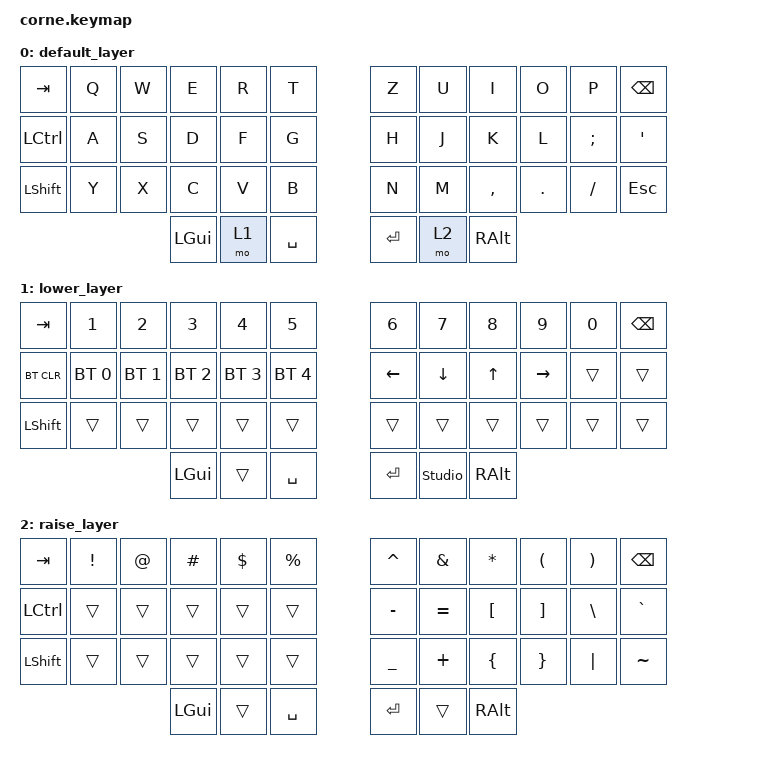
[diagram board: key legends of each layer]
/*
 * Copyright (c) 2020 The ZMK Contributors
 *
 * SPDX-License-Identifier: MIT
 */

#include <behaviors.dtsi>
#include <dt-bindings/zmk/keys.h>
#include <dt-bindings/zmk/bt.h>
#include <dt-bindings/zmk/rgb.h>
#include <dt-bindings/zmk/outputs.h>
#include <dt-bindings/led/led.h>

/{
    chosen {
        zmk,battery = &vbatt;
        zmk,underglow = &led_strip;
    };
  

    ext-power {
        compatible = "zmk,ext-power-generic";
        label = "EXT_POWER";
        control-gpios = <&gpio0 13 GPIO_ACTIVE_HIGH>;
         init-delay-ms = <50>;
    };

     vbatt: vbatt {
        compatible = "zmk,battery-nrf-vddh";
    };


};


&spi3 {
  compatible = "nordic,nrf-spim";
  status = "okay";

  pinctrl-0 = <&spi1_default>;
  pinctrl-1 = <&spi1_sleep>;
  pinctrl-names = "default", "sleep";

  led_strip: ws2812@0 {
    compatible = "worldsemi,ws2812-spi";

    /* SPI */
    reg = <0>; /* ignored, but necessary for SPI bindings */
    spi-max-frequency = <4000000>;

    /* WS2812 */
    chain-length = <27>; /* number of LEDs */
    spi-one-frame = <0x70>;
    spi-zero-frame = <0x40>;
    color-mapping = <LED_COLOR_ID_GREEN
                          LED_COLOR_ID_RED
                          LED_COLOR_ID_BLUE>;
  };
};


  


&mmv {
	time-to-max-speed-ms = <1>;             /* <--- How long time until max speed is reached (default: 500) */
};

&lt {
    quick_tap_ms = <200>;
};


/ {
        keymap {
                compatible = "zmk,keymap";

                default_layer {
// -----------------------------------------------------------------------------------------
// |  TAB |  Q  |  W  |  E  |  R  |  T  |   |  Z  |  U   |  I  |  O  |  P  | BSPC |
// | CTRL |  A  |  S  |  D  |  F  |  G  |   |  H  |  J   |  K  |  L  |  ;  |  '   |
// | SHFT |  Y  |  X  |  C  |  V  |  B  |   |  N  |  M   |  ,  |  .  |  /  | ESC  |
//                    | GUI | LWR | SPC |   | ENT | RSE  | ALT |
                        bindings = <
   &kp TAB   &kp Q &kp W &kp E &kp R &kp T   &kp Z &kp U  &kp I     &kp O   &kp P    &kp BSPC
   &kp LCTRL &kp A &kp S &kp D &kp F &kp G   &kp H &kp J  &kp K     &kp L   &kp SEMI &kp SQT
   &kp LSHFT &kp Y &kp X &kp C &kp V &kp B   &kp N &kp M  &kp COMMA &kp DOT &kp FSLH &kp ESC
                  &kp LGUI &mo 1 &kp SPACE   &kp RET &mo 2 &kp RALT
                        >;
                };
                lower_layer {
// -----------------------------------------------------------------------------------------
// |  TAB |  1  |  2  |  3  |  4  |  5  |   |  6  |  7  |  8  |  9  |  0  | BSPC |
// | BTCLR| BT1 | BT2 | BT3 | BT4 | BT5 |   | LFT | DWN |  UP | RGT |     |      |
// | SHFT |     |     |     |     |     |   |     |     |     |     |     |      |
//                    | GUI |     | SPC |   | ENT | STUD| ALT |
                        bindings = <
   &kp TAB    &kp N1       &kp N2       &kp N3       &kp N4       &kp N5         &kp N6   &kp N7   &kp N8 &kp N9    &kp N0 &kp BSPC
   &bt BT_CLR &bt BT_SEL 0 &bt BT_SEL 1 &bt BT_SEL 2 &bt BT_SEL 3 &bt BT_SEL 4   &kp LEFT &kp DOWN &kp UP &kp RIGHT &trans &trans
   &kp LSHFT  &trans       &trans       &trans       &trans       &trans         &trans   &trans   &trans &trans    &trans &trans
                                    &kp LGUI     &trans       &kp SPACE      &kp RET  &studio_unlock   &kp RALT
                        >;
                };

                raise_layer {
// -----------------------------------------------------------------------------------------
// |  TAB |  !  |  @  |  #  |  $  |  %  |   |  ^  |  &  |  *  |  (  |  )  | BSPC |
// | CTRL |     |     |     |     |     |   |  -  |  =  |  [  |  ]  |  \  |  `   |
// | SHFT |     |     |     |     |     |   |  _  |  +  |  {  |  }  | "|" |  ~   |
//                    | GUI |     | SPC |   | ENT |     | ALT |
                        bindings = <
   &kp  TAB  &kp EXCL &kp AT &kp HASH &kp DLLR &kp PRCNT   &kp CARET &kp AMPS  &kp ASTRK &kp LPAR &kp RPAR &kp BSPC
   &kp LCTRL &trans   &trans &trans   &trans   &trans      &kp MINUS &kp EQUAL &kp LBKT  &kp RBKT &kp BSLH &kp GRAVE
   &kp LSHFT &trans   &trans &trans   &trans   &trans      &kp UNDER &kp PLUS  &kp LBRC  &kp RBRC &kp PIPE &kp TILDE
                             &kp LGUI &trans   &kp SPACE   &kp RET   &trans    &kp RALT
                        >;
                };
        };
};
